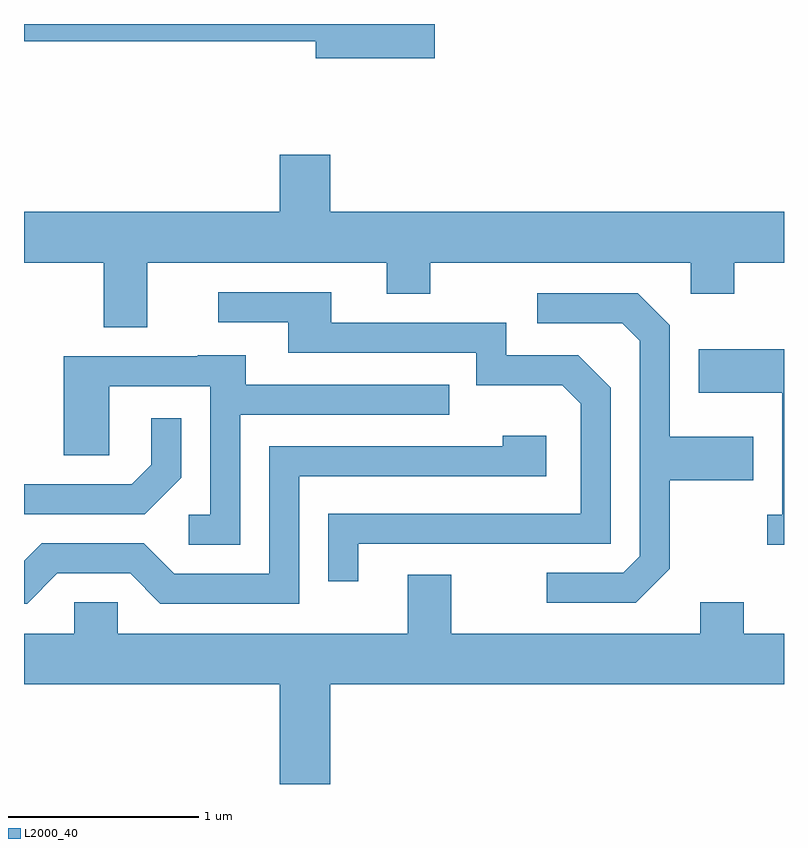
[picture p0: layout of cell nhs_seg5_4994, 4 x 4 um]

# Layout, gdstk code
import gdstk
lib = gdstk.Library(unit=1e-6, precision=1e-09)
def P(c, l, *ps):  # polygons
    for p in ps: c.add(gdstk.Polygon(p, *l))
L2000_40 = (2000, 40)

nhs_seg5_4994 = lib.new_cell('nhs_seg5_4994')
P(nhs_seg5_4994, L2000_40, [(335.774,1438.072),(333.611,1438.072),(333.611,1437.981),(335.146,1437.981),(335.146,1437.891),(335.774,1437.891)],
  [(334.259,1436.816),(335.521,1436.816),(335.521,1436.651),(335.749,1436.651),(335.749,1436.816),(337.121,1436.816),(337.121,1436.651),(337.349,1436.651),(337.349,1436.816),(337.611,1436.816),(337.611,1437.084),(335.224,1437.084),(335.224,1437.384),(334.956,1437.384),(334.956,1437.084),(333.611,1437.084),(333.611,1436.816),(334.031,1436.816),(334.031,1436.476),(334.259,1436.476)],
  [(335.369,1435.336),(336.699,1435.336),(336.699,1436.157),(336.527,1436.329),(336.149,1436.329),(336.149,1436.499),(335.229,1436.499),(335.229,1436.659),(334.633,1436.659),(334.633,1436.501),(335.001,1436.501),(335.001,1436.341),(335.991,1436.341),(335.991,1436.171),(336.444,1436.171),(336.541,1436.074),(336.541,1435.494),(335.211,1435.494),(335.211,1435.138),(335.369,1435.138)],
  [(337.009,1435.204),(337.009,1435.671),(337.449,1435.671),(337.449,1435.899),(337.009,1435.899),(337.009,1436.487),(336.842,1436.654),(336.313,1436.654),(336.313,1436.496),(336.759,1436.496),(336.851,1436.404),(336.851,1435.272),(336.764,1435.184),(336.363,1435.184),(336.363,1435.026),(336.832,1435.026)],
  [(337.611,1436.359),(337.161,1436.359),(337.161,1436.131),(337.601,1436.131),(337.601,1435.489),(337.523,1435.489),(337.523,1435.331),(337.611,1435.331)],
  [(334.749,1436.016),(335.848,1436.016),(335.848,1436.174),(334.779,1436.174),(334.779,1436.329),(334.525,1436.329),(334.525,1436.324),(333.821,1436.324),(333.821,1435.801),(334.059,1435.801),(334.059,1436.166),(334.591,1436.166),(334.591,1435.489),(334.478,1435.489),(334.478,1435.331),(334.749,1435.331)],
  [(334.439,1435.684),(334.439,1435.998),(334.281,1435.998),(334.281,1435.752),(334.179,1435.649),(333.611,1435.649),(333.611,1435.491),(334.247,1435.491)],
  [(333.787,1435.181),(334.169,1435.181),(334.329,1435.021),(335.059,1435.021),(335.059,1435.691),(336.359,1435.691),(336.359,1435.904),(336.131,1435.904),(336.131,1435.849),(334.901,1435.849),(334.901,1435.179),(334.402,1435.179),(334.242,1435.339),(333.704,1435.339),(333.611,1435.246),(333.611,1435.021),(333.627,1435.021)],
  [(335.224,1434.596),(337.611,1434.596),(337.611,1434.864),(337.399,1434.864),(337.399,1435.029),(337.171,1435.029),(337.171,1434.864),(335.859,1434.864),(335.859,1435.174),(335.631,1435.174),(335.631,1434.864),(334.104,1434.864),(334.104,1435.029),(333.876,1435.029),(333.876,1434.864),(333.611,1434.864),(333.611,1434.596),(334.956,1434.596),(334.956,1434.072),(335.224,1434.072)])

lib.write_gds('nhs_seg5_4994.gds')
